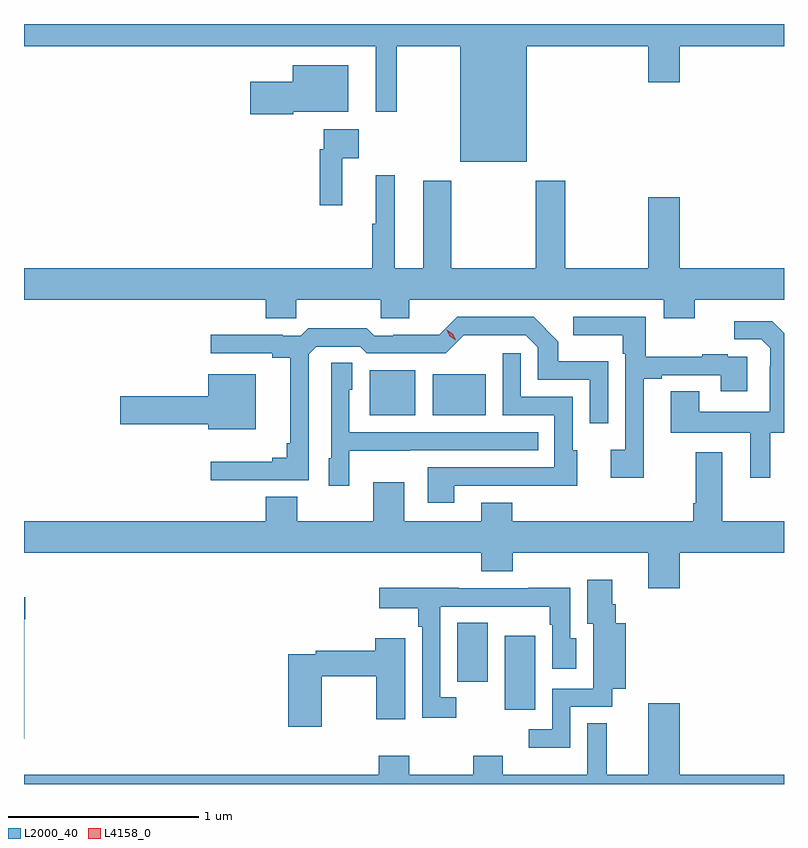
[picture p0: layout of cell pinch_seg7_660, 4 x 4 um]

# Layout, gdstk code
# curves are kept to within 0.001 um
import gdstk
lib = gdstk.Library(unit=1e-6, precision=1e-09)
def R(c, l, rs):  # rectangles x0, y0, x1, y1
    for r in rs: c.add(gdstk.rectangle(r[:2], r[2:], *l))
def P(c, l, *ps):  # polygons
    for p in ps: c.add(gdstk.Polygon(p, *l))
L2000_40 = (2000, 40)
L4158_0 = (4158, 0)

pinch_seg7_660 = lib.new_cell('pinch_seg7_660')
R(pinch_seg7_660, L2000_40, [(332.084,1021.1,332.245,1021.489), (331.835,1021.248,331.996,1021.559), (331.373,1022.651,331.612,1022.887), (331.706,1022.651,331.984,1022.866)])
P(pinch_seg7_660, L2000_40, [(329.554,1024.592),(331.406,1024.592),(331.406,1024.248),(331.516,1024.248),(331.516,1024.592),(331.85,1024.592),(331.85,1023.986),(332.2,1023.986),(332.2,1024.592),(332.84,1024.592),(332.84,1024.404),(333.004,1024.404),(333.004,1024.592),(333.554,1024.592),(333.554,1024.71),(329.554,1024.71)],
  [(330.972,1024.247),(331.261,1024.247),(331.261,1024.492),(330.968,1024.492),(330.968,1024.405),(330.744,1024.405),(330.744,1024.235),(330.972,1024.235)],
  [(331.229,1024.004),(331.315,1024.004),(331.315,1024.156),(331.131,1024.156),(331.131,1024.052),(331.111,1024.052),(331.111,1023.756),(331.229,1023.756)],
  [(333.085,1023.26),(333.554,1023.26),(333.554,1023.424),(333.004,1023.424),(333.004,1023.799),(332.84,1023.799),(332.84,1023.424),(332.403,1023.424),(332.403,1023.886),(332.248,1023.886),(332.248,1023.424),(331.803,1023.424),(331.803,1023.886),(331.655,1023.886),(331.655,1023.424),(331.504,1023.424),(331.504,1023.913),(331.406,1023.913),(331.406,1023.66),(331.387,1023.66),(331.387,1023.424),(329.554,1023.424),(329.554,1023.26),(330.827,1023.26),(330.827,1023.162),(330.987,1023.162),(330.987,1023.26),(331.432,1023.26),(331.432,1023.162),(331.582,1023.162),(331.582,1023.26),(332.921,1023.26),(332.921,1023.161),(333.085,1023.161)],
  [(331.053,1022.973),(331.092,1023.012),(331.323,1023.012),(331.359,1022.976),(331.773,1022.976),(331.868,1023.071),(332.196,1023.072),(332.259,1023.009),(332.259,1022.838),(332.532,1022.838),(332.532,1022.61),(332.628,1022.61),(332.628,1022.935),(332.367,1022.935),(332.367,1023.038),(332.236,1023.168),(331.833,1023.168),(331.739,1023.074),(331.498,1023.074),(331.498,1023.069),(331.398,1023.069),(331.359,1023.109),(331.051,1023.109),(331.011,1023.069),(330.917,1023.069),(330.917,1023.074),(330.537,1023.074),(330.537,1022.976),(330.86,1022.976),(330.86,1022.954),(330.956,1022.954),(330.956,1022.503),(330.937,1022.503),(330.937,1022.426),(330.86,1022.426),(330.86,1022.407),(330.537,1022.407),(330.537,1022.31),(331.053,1022.31)],
  [(332.815,1022.844),(332.911,1022.844),(332.911,1022.862),(333.221,1022.862),(333.221,1022.778),(333.361,1022.778),(333.361,1022.958),(333.257,1022.958),(333.257,1022.971),(333.125,1022.971),(333.125,1022.96),(332.827,1022.96),(332.827,1023.168),(332.445,1023.168),(332.445,1023.071),(332.706,1023.071),(332.706,1022.975),(332.718,1022.975),(332.718,1022.47),(332.643,1022.47),(332.643,1022.322),(332.815,1022.322)],
  [(333.481,1022.56),(333.554,1022.56),(333.554,1023.082),(333.491,1023.145),(333.291,1023.145),(333.291,1023.051),(333.435,1023.051),(333.482,1023.004),(333.482,1022.909),(333.48,1022.909),(333.48,1022.668),(333.109,1022.668),(333.109,1022.777),(332.957,1022.777),(332.957,1022.558),(333.377,1022.558),(333.377,1022.322),(333.481,1022.322)],
  [(331.819,1022.28),(332.249,1022.28),(332.249,1022.279),(332.467,1022.279),(332.467,1022.466),(332.442,1022.466),(332.442,1022.748),(332.169,1022.748),(332.169,1022.977),(332.073,1022.977),(332.073,1022.652),(332.346,1022.652),(332.346,1022.376),(331.679,1022.376),(331.679,1022.19),(331.819,1022.19)],
  [(331.266,1022.465),(331.583,1022.465),(331.583,1022.466),(332.261,1022.466),(332.261,1022.562),(331.266,1022.562),(331.266,1022.784),(331.282,1022.784),(331.282,1022.927),(331.17,1022.927),(331.17,1022.424),(331.157,1022.424),(331.157,1022.28),(331.266,1022.28)],
  [(330.775,1022.866),(330.524,1022.866),(330.524,1022.75),(330.06,1022.75),(330.06,1022.603),(330.524,1022.603),(330.524,1022.576),(330.775,1022.576)],
  [(333.004,1021.928),(333.554,1021.928),(333.554,1022.092),(333.229,1022.092),(333.229,1022.455),(333.089,1022.455),(333.089,1022.188),(333.077,1022.188),(333.077,1022.092),(332.125,1022.092),(332.125,1022.191),(331.961,1022.191),(331.961,1022.092),(331.555,1022.092),(331.555,1022.299),(331.391,1022.299),(331.391,1022.092),(330.991,1022.092),(330.991,1022.221),(330.827,1022.221),(330.827,1022.092),(329.554,1022.092),(329.554,1021.928),(331.961,1021.928),(331.961,1021.829),(332.126,1021.829),(332.126,1021.928),(332.84,1021.928),(332.84,1021.74),(333.004,1021.74)],
  [(332.43,1021.116),(332.65,1021.116),(332.65,1021.211),(332.72,1021.211),(332.72,1021.555),(332.668,1021.555),(332.668,1021.657),(332.65,1021.657),(332.65,1021.786),(332.519,1021.786),(332.519,1021.553),(332.549,1021.553),(332.549,1021.212),(332.334,1021.212),(332.334,1020.999),(332.211,1020.999),(332.211,1020.902),(332.43,1020.902)],
  [(331.828,1021.167),(331.746,1021.167),(331.746,1021.644),(332.092,1021.644),(332.092,1021.643),(332.322,1021.643),(332.322,1021.547),(332.334,1021.547),(332.334,1021.317),(332.461,1021.317),(332.461,1021.476),(332.43,1021.476),(332.43,1021.742),(332.209,1021.742),(332.209,1021.74),(331.843,1021.74),(331.843,1021.742),(331.425,1021.742),(331.425,1021.634),(331.63,1021.634),(331.63,1021.538),(331.65,1021.538),(331.65,1021.059),(331.828,1021.059)],
  [(329.555,1021.578),(329.56,1021.578),(329.56,1021.692),(329.554,1021.692),(329.554,1020.947),(329.555,1020.947)],
  [(331.122,1021.276),(331.408,1021.276),(331.408,1021.05),(331.561,1021.05),(331.561,1021.477),(331.403,1021.477),(331.403,1021.412),(331.09,1021.412),(331.09,1021.392),(330.944,1021.392),(330.944,1021.011),(331.122,1021.011)],
  [(333.554,1020.76),(333.004,1020.76),(333.004,1021.135),(332.84,1021.135),(332.84,1020.76),(332.62,1020.76),(332.62,1021.031),(332.519,1021.031),(332.519,1020.76),(332.073,1020.76),(332.073,1020.859),(331.918,1020.859),(331.918,1020.76),(331.581,1020.76),(331.581,1020.859),(331.421,1020.859),(331.421,1020.76),(329.554,1020.76),(329.554,1020.71),(333.554,1020.71)])
P(pinch_seg7_660, L4158_0, [(331.826,1023.046),(331.795,1023.066),(331.778,1023.1),(331.778,1023.1),(331.779,1023.1),(331.81,1023.08),(331.826,1023.046),(331.826,1023.046)])

lib.write_gds('pinch_seg7_660.gds')
